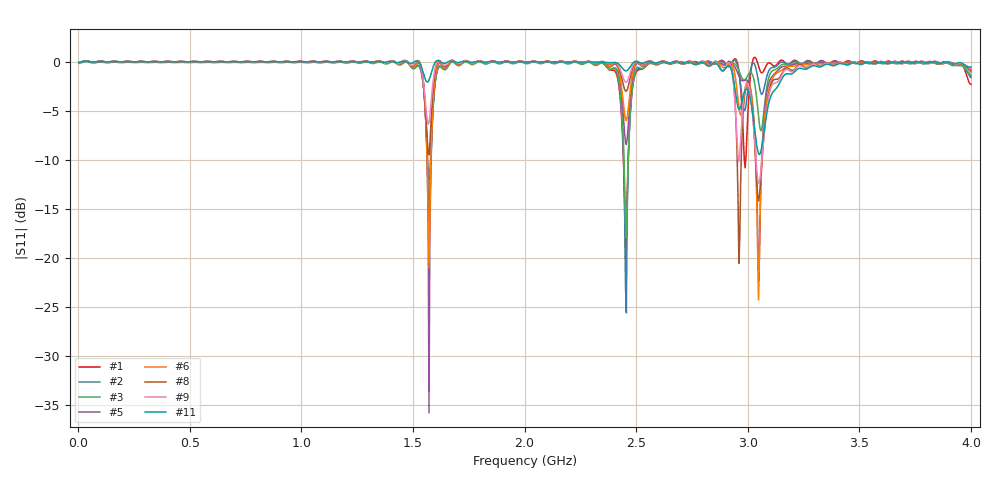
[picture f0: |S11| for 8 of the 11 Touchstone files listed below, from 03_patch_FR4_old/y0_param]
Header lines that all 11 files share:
! TOUCHSTONE file generated by CST MICROWAVE STUDIO
! Project name: AppElm_antenne_patch_FR4.cst
! Header version: 2018
! Port assignment regex: !\s*Touchstone port\s*([0-9]+)\s*=\s*(CST MWS port|CST DS port)\s*([0-9]+|Zmin|Zmax)\s*\(\"(.*)\"\)(\s*mode\s*([0-9]+))?.*
! Touchstone port assignment:
! Touchstone port 1 = CST MWS port 1 ("")
# GHz S MA R 50
Fixed: L = 45, W = 58.5, e = 0.035, h = 1.6, lambda = 0.190476, ls = 120, w0 = 1.6, w1 = 0.533333, ws = 120, y1 = 23.8095
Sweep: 4 MHz to 4 GHz
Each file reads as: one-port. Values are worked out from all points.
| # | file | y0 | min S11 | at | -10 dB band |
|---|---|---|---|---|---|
| 1 | AppElm_antenne_patch_FR4_1.s1p | 15 | -20.1 dB | 2.452 GHz | 21.22 MHz wide |
| 2 | AppElm_antenne_patch_FR4_2.s1p | 16 | -25.6 dB | 2.456 GHz | 21.12 MHz wide |
| 3 | AppElm_antenne_patch_FR4_3.s1p | 17 | -17.9 dB | 2.456 GHz | 19.07 MHz wide |
| 4 | AppElm_antenne_patch_FR4_4.s1p | 18 | -21.7 dB | 1.572 GHz | 18.08 MHz wide |
| 5 | AppElm_antenne_patch_FR4_5.s1p | 19 | -35.8 dB | 1.572 GHz | 25.78 MHz wide |
| 6 | AppElm_antenne_patch_FR4_6.s1p | 20 | -24.3 dB | 3.048 GHz | 28.04 MHz wide |
| 7 | AppElm_antenne_patch_FR4_7.s1p | 21 | -16.7 dB | 3.048 GHz | 28.69 MHz wide |
| 8 | AppElm_antenne_patch_FR4_8.s1p | 22 | -20.5 dB | 2.96 GHz | 28.88 MHz wide |
| 9 | AppElm_antenne_patch_FR4_9.s1p | 23 | -12.4 dB | 3.048 GHz | 26.03 MHz wide |
| 10 | AppElm_antenne_patch_FR4_10.s1p | 24 | -10.8 dB | 3.052 GHz | 17.24 MHz wide |
| 11 | AppElm_antenne_patch_FR4_11.s1p | 25 | -9.5 dB | 3.052 GHz | - |
